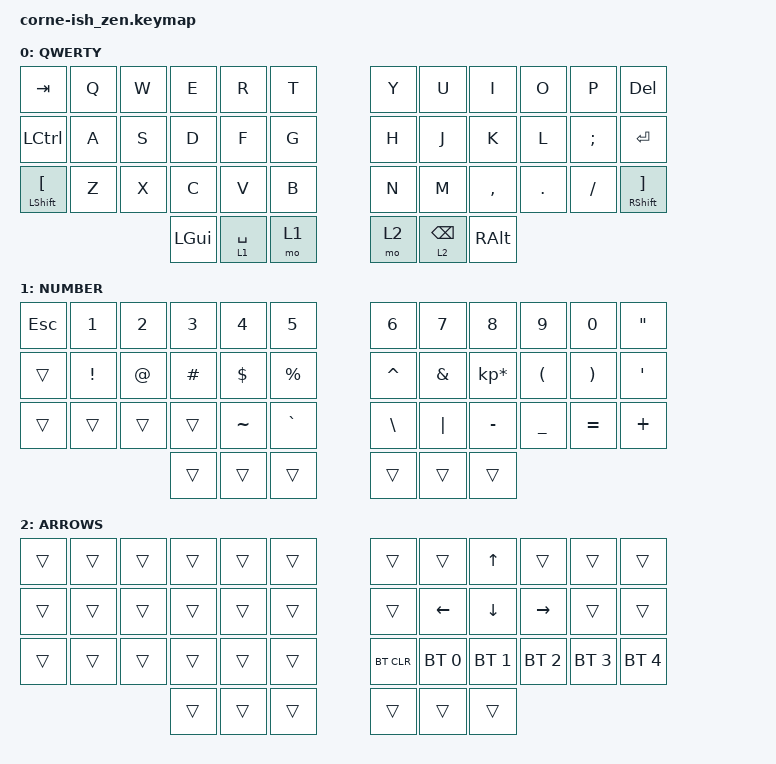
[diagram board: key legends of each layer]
/*
*
* Copyright (c) 2021 Darryl deHaan
* SPDX-License-Identifier: MIT
*
*/

#include <behaviors.dtsi>
#include <dt-bindings/zmk/keys.h>
#include <dt-bindings/zmk/bt.h>

/ {
        keymap {
                compatible = "zmk,keymap";

                default_layer {
                        label = "QWERTY";
// -----------------------------------------------------------------------------------------
// | TAB   |  Q  |  W  |  E  |  R  |  T  |   |  Y  |  U   |  I  |  O  |  P  |  DEL  |
// | CTRL  |  A  |  S  |  D  |  F  |  G  |   |  H  |  J   |  K  |  L  |  ;  |  ENT  |
// | SHFT[ |  Z  |  X  |  C  |  V  |  B  |   |  N  |  M   |  ,  |  .  |  /  | ]SHFT |
//                 | GUI | LOW/SPC | LOW |   | RSE | RSE/BKSP | ALT |
                        bindings = <
   &kp TAB      &kp Q &kp W &kp E &kp R &kp T   &kp Y &kp U  &kp I     &kp O   &kp P    &kp DEL
   &kp LCTRL    &kp A &kp S &kp D &kp F &kp G   &kp H &kp J  &kp K     &kp L   &kp SEMI &kp RET
 &mt LSHFT LBKT &kp Z &kp X &kp C &kp V &kp B   &kp N &kp M  &kp COMMA &kp DOT &kp FSLH &mt RSHFT RBKT
                       &kp LGUI &lt 1 SPC &mo 1   &mo 2 &lt 2 BKSP &kp RALT
                        >;
                };
                lower_layer {
                        label = "NUMBER";
// -----------------------------------------------------------------------------------------
// |  ESC |  1  |  2  |  3  |  4  |  5  |   |  6  |  7  |  8  |  9  |  0  |  "  |
// |      |  !  |  @  |  #  |  $  |  %  |   |  ^  |  &  |  *  |  (  |  )  |  '  |
// |      |     |     |     |  ~  |  `  |   |  \  | "|" |  -  |  _  |  =  |  +  |
//                    |     |     |     |   |     |     |     |
                        bindings = <
   &kp ESC &kp N1   &kp N2  &kp N3   &kp N4    &kp N5      &kp N6    &kp N7    &kp N8          &kp N9     &kp N0    &kp DQT
   &trans  &kp EXCL &kp AT  &kp HASH &kp DLLR  &kp PRCNT   &kp CARET &kp AMPS  &kp KP_MULTIPLY &kp LPAR   &kp RPAR  &kp SQT
   &trans  &trans   &trans  &trans   &kp TILDE &kp GRAVE   &kp BSLH  &kp PIPE  &kp MINUS       &kp UNDER  &kp EQUAL &kp PLUS
                          	&trans   &trans    &trans      &trans    &trans    &trans
                        >;
                };

                raise_layer {
                        label = "ARROWS";
// -----------------------------------------------------------------------------------------
// |     |     |     |     |     |     |   |      |     | UP  |     |     |     |
// |     |     |     |     |     |     |   |      | LFT | DWN | RGT |     |     |
// |     |     |     |     |     |     |   |BT_CLR| BT1 | BT2 | BT3 | BT4 | BT5 |
//                   |     |     |     |   |      |     |     |
                        bindings = <
   &trans &trans &trans &trans &trans &trans   &trans     &trans       &kp UP       &trans       &trans       &trans
   &trans &trans &trans &trans &trans &trans   &trans     &kp LEFT     &kp DOWN     &kp RIGHT    &trans       &trans
   &trans &trans &trans &trans &trans &trans   &bt BT_CLR &bt BT_SEL 0 &bt BT_SEL 1 &bt BT_SEL 2 &bt BT_SEL 3 &bt BT_SEL 4
                    	&trans &trans &trans   &trans &trans  &trans
                        >;
                };
        };
};
